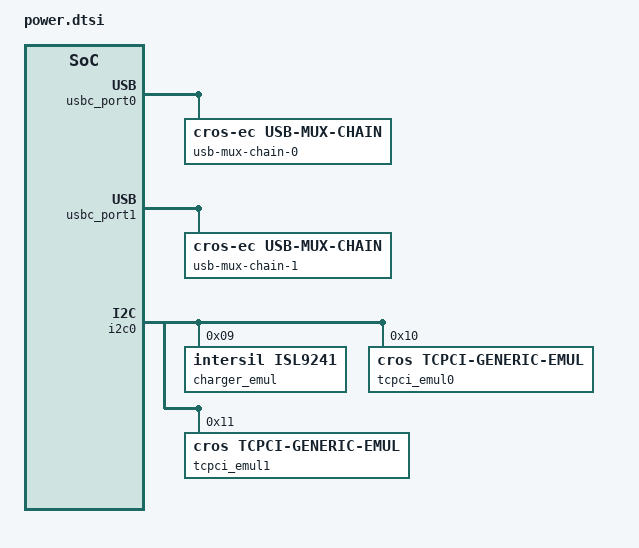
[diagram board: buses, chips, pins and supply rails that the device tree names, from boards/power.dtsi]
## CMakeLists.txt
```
# Copyright 2022 The ChromiumOS Authors
# Use of this source code is governed by a BSD-style license that can be
# found in the LICENSE file.

cmake_minimum_required(VERSION 3.13.1)
find_package(Zephyr REQUIRED HINTS "${ZEPHYR_BASE}")
project(rex)

zephyr_include_directories("${PLATFORM_EC_PROGRAM_DIR}/rex/include")

add_subdirectory(${PLATFORM_EC}/zephyr/test/test_utils test_utils)

add_subdirectory(tests/program)
add_subdirectory_ifdef(CONFIG_TEST_PROJECT_REX tests/rex)
add_subdirectory_ifdef(CONFIG_TEST_PROJECT_SCREEBO tests/screebo)
add_subdirectory_ifdef(CONFIG_TEST_PROJECT_KARIS tests/karis)
add_subdirectory_ifdef(CONFIG_TEST_PROJECT_KANIX tests/kanix)

set_compiler_property(APPEND PROPERTY coverage -O0)
```

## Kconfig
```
# Copyright 2022 The ChromiumOS Authors
# Use of this source code is governed by a BSD-style license that can be
# found in the LICENSE file.

choice TEST_PROJECT_TYPE
	prompt "Select board variant for tests"
	help
	  Board variant to use for tests

	config TEST_PROJECT_REX
		bool "Enable rex-specific tests"
		help
		Enable tests for rex variant.

	config TEST_PROJECT_SCREEBO
		bool "Enable screebo-specific tests"
		help
		Enable tests for screebo variant.

	config TEST_PROJECT_KANIX
		bool "Enable kanix-specific tests"
		help
		Enable tests for kanix variant.

	config TEST_PROJECT_KARIS
		bool "Enable karis-specific tests"
		help
		Enable tests for karis variant.

endchoice # TEST_PROJECT_TYPE

config TEST_PROJECT_NAME
	string "Board name"
	default "rex" if TEST_PROJECT_REX
	default "screebo" if TEST_PROJECT_SCREEBO

config TEST_PROJECT_USB_MUX_CONFIG
	bool "Run the tests intended for usb_mux_config"
	help
	  Include project specific usb_mux_config.c into the binary and
	  test their functions.

config TEST_PROJECT_USB_CONFIG
	bool "Run the tests intended for usb_config"
	help
	  Include project specific usb_config.c into the binary and test
	  their functions.

config TEST_PROJECT_KEYBOARD
	bool "Run the tests intended for keyboard.c"
	help
	  Include project specific keyboard.c into the binary and test
	  their functions.

config TEST_PROJECT_KEYBOARD_CUSTOMIZATION
	bool "Run the tests intended for keyboard_customization.c"
	help
	  Include project specific keyboard_customization.c into the
	  binary and test their functions.

config PLATFORM_EC_KEYBOARD_DEBUG
	  bool "Enable keyboard debug prints"
	  help
	    Enable keyboard debug prints to show up in early bringup, for example
	    if the board is currently headless and keyboard functionality is being
	    checked.

config TEST_PROJECT_BOARD
	bool "Run the tests intended for board.c"
	help
	  Include project specific board.c into the binary and test
	  their functions.

config TEST_PROJECT_CHARGER
	bool "Run the tests intended for charger.c"
	help
	  Include project specific charger.c into the binary and test
	  their functions.

config TEST_PROGRAM_USB_PD_POLICY
	bool "Run the tests intended for usb_pd_policy"
	help
	  Include usb_pd_policy.c into the binary and test their functions.

config TEST_ENABLE_USB_PD_DISCHARGE
	bool "Enable CONFIG_USB_PD_DISCHARGE"
	help
	  This is used to define CONFIG_USB_PD_DISCHARGE for testing purposes
	  directly.

config TEST_ENABLE_USB_PD_HOST_CMD
	bool "Enable CONFIG_USB_PD_HOST_CMD"
	help
	  This is used to define CONFIG_USB_PD_HOST_CMD for testing purposes
	  directly.

config TEST_DISABLE_INLINE_CHIPSET_IN_STATE
	bool "Disable chipset_in_state inline method"
	help
	  This is used to not define chipset_in_state method as inline
	  function.

config TEST_PROGRAM_BATTERY_PRESENT
	bool "Tests battery presence detect"
	help
	  Include tests for board specific battery presence detection.
	  Really, that's all it does.

config TEST_PROGRAM_BOARD_POWER
	bool "Run the tests intended for board_power"
	help
	  Include board_power.c into the binary and test
	  their functions.

config TEST_X86_NON_DSX_PWRSEQ_MTL
	bool "Replace CONFIG_X86_NON_DSX_PWRSEQ_MTL for testing"
	help
	  This is used to replace CONFIG_X86_NON_DSX_PWRSEQ_MTL for testing
	  purposes directly.

config TEST_DISABLE_AP_PWRSEQ
	bool "Disable CONFIG_AP_PWRSEQ"
	default n
	help
	  This is used to disable CONFIG_AP_PWRSEQ for testing purposes
	  directly.

config TEST_PROGRAM_I2C_POLICY
	bool "Run the tests intended for i2c_policy"
	help
	  Include i2c_policy.c into the binary and test their functions.

config TEST_PROJECT_TOUCH_PANEL
	bool "Run the tests intended for touch_panel.c"
	help
	  Include touch_panel.c into the binary and test their functions.

config TEST_BOARD_FAN_CUSTOM
	bool "Run the tests intended for thermal.c"
	help
	  Include thermal.c into the binary and test their functions.

module = REX
module-str = Rex board-specific code
source "subsys/logging/Kconfig.template.log_config"

source "Kconfig.zephyr"
```

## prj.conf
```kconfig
# Copyright 2022 The ChromiumOS Authors
# Use of this source code is governed by a BSD-style license that can be
# found in the LICENSE file.

CONFIG_ZTEST=y
CONFIG_ZTEST_ASSERT_VERBOSE=1
CONFIG_ASSERT=y
CONFIG_EMUL=y

CONFIG_CROS_EC=y
CONFIG_PLATFORM_EC=y

CONFIG_LOG=y
CONFIG_LOG_MODE_MINIMAL=y
CONFIG_POSIX_ARCH_CONSOLE_INIT_PRIORITY=98
CONFIG_PLATFORM_EC_CONSOLE_INIT_PRIORITY=99

CONFIG_AP_X86_INTEL_MTL=y
CONFIG_TEST_DISABLE_AP_PWRSEQ=y

CONFIG_EMUL_COMMON_I2C=y

CONFIG_PLATFORM_EC_KEYBOARD_CUSTOMIZATION=y
```

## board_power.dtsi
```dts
/* Copyright 2022 The ChromiumOS Authors
 * Use of this source code is governed by a BSD-style license that can be
 * found in the LICENSE file.
 */

#include <dt-bindings/gpio_defines.h>

/ {
	common-pwrseq {
		compatible = "intel,ap-pwrseq";
	};
	named-gpios {
		compatible = "named-gpios";
		ec_bl_disable_l {
			gpios = <&gpio0 1 GPIO_INPUT>;
			enum-name = "GPIO_ENABLE_BACKLIGHT";
		};
		gpio_pch_pwrbtn_l: pch_pwrbtn_l {
			gpios = <&gpio0 2 GPIO_OUTPUT>;
			enum-name = "GPIO_PCH_PWRBTN_L";
		};
		gpio_ec_pwr_btn_odl: ec_pwr_btn_odl {
			/* GPIO_PULL_UP will cause this start asserted,
			 * i.e. not pressed.
			 */
			gpios = <&gpio0 3 (GPIO_INPUT | GPIO_PULL_UP)>;
			enum-name = "GPIO_POWER_BUTTON_L";
		};
		gpio_wp_l: wp_l {
			gpios = <&gpio0 4 (GPIO_INPUT | GPIO_ACTIVE_LOW)>;
		};
		entering-rw {
			gpios = <&gpio0 5 GPIO_OUTPUT_LOW>;
			enum-name = "GPIO_ENTERING_RW";
		};
	};
	en_pp5000: pwr-en-pp5000-s5 {
		compatible = "intel,ap-pwrseq-gpio";
		dbg-label = "PP5000_S5 enable output to regulator";
		enum-name = "PWR_EN_PP5000_A";
		gpios = <&gpio0 10 0>;
		output;
	};
	en_pp3300: pwr-en-pp3300-s5 {
		compatible = "intel,ap-pwrseq-gpio";
		dbg-label = "PP3300_S5 enable output to LS";
		enum-name = "PWR_EN_PP3300_A";
		gpios = <&gpio0 11 0>;
		output;
	};
	rsmrst: pwr-pg-ec-rsmrst-odl {
		compatible = "intel,ap-pwrseq-gpio";
		dbg-label = "RSMRST power good from regulator";
		enum-name = "PWR_RSMRST";
		gpios = <&gpio0 12 0>;
		interrupt-flags = <GPIO_INT_EDGE_BOTH>;
	};
	ec_pch_rsmrst: pwr-ec-pch-rsmrst-odl {
		compatible = "intel,ap-pwrseq-gpio";
		dbg-label = "RSMRST output to PCH";
		enum-name = "PWR_EC_PCH_RSMRST";
		gpios = <&gpio0 13 0>;
		output;
	};
	slp_s0: pwr-slp-s0-l {
		compatible = "intel,ap-pwrseq-gpio";
		dbg-label = "SLP_S0_L input from PCH";
		enum-name = "PWR_SLP_S0";
		gpios = <&gpio0 14 GPIO_ACTIVE_LOW>;
		interrupt-flags = <GPIO_INT_EDGE_BOTH>;
		no-enable;
	};
	slp_s3: pwr-slp-s3-l {
		compatible = "intel,ap-pwrseq-gpio";
		dbg-label = "SLP_S3_L input from PCH";
		enum-name = "PWR_SLP_S3";
		gpios = <&gpio0 15 GPIO_ACTIVE_LOW>;
		interrupt-flags = <GPIO_INT_EDGE_BOTH>;
	};
	slp_sus: pwr-slp-sus-l {
		compatible = "intel,ap-pwrseq-gpio";
		dbg-label = "SLP_SUS_L input from PCH";
		enum-name = "PWR_SLP_SUS";
		gpios = <&gpio0 16 GPIO_ACTIVE_LOW>;
		interrupt-flags = <GPIO_INT_EDGE_BOTH>;
	};
	ec_soc_dsw_pwrok: pwr-ec-soc-dsw-pwrok {
		compatible = "intel,ap-pwrseq-gpio";
		dbg-label = "DSW_PWROK output to PCH";
		enum-name = "PWR_EC_SOC_DSW_PWROK";
		gpios = <&gpio0 17 0>;
		output;
	};
	pwr-vccst-pwrgd-od {
		compatible = "intel,ap-pwrseq-gpio";
		dbg-label = "VCCST_PWRGD output to PCH";
		enum-name = "PWR_VCCST_PWRGD";
		gpios = <&gpio0 18 0>;
		output;
	};
	pwr-imvp9-vrrdy-od {
		compatible = "intel,ap-pwrseq-gpio";
		dbg-label = "VRRDY input from IMVP9";
		enum-name = "PWR_IMVP9_VRRDY";
		gpios = <&gpio0 19 0>;
	};
	pch_pwrok: pwr-pch-pwrok {
		compatible = "intel,ap-pwrseq-gpio";
		dbg-label = "PCH_PWROK output to PCH";
		enum-name = "PWR_PCH_PWROK";
		gpios = <&gpio0 20 0>;
		output;
	};
	pwr-ec-pch-sys-pwrok {
		compatible = "intel,ap-pwrseq-gpio";
		dbg-label = "SYS_PWROK output to PCH";
		enum-name = "PWR_EC_PCH_SYS_PWROK";
		gpios = <&gpio0 21 0>;
		output;
	};
	pwr-sys-rst-l {
		compatible = "intel,ap-pwrseq-gpio";
		dbg-label = "SYS_RESET# output to PCH";
		enum-name = "PWR_SYS_RST";
		gpios = <&gpio0 22 GPIO_ACTIVE_LOW>;
		output;
	};
};
```

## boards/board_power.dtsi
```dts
/* Copyright 2022 The ChromiumOS Authors
 * Use of this source code is governed by a BSD-style license that can be
 * found in the LICENSE file.
 */

#include <dt-bindings/gpio_defines.h>

/ {

	common-pwrseq {
		compatible = "intel,ap-pwrseq";
	};
	named-gpios {
		compatible = "named-gpios";
		ec_bl_disable_l {
			gpios = <&gpio0 1 GPIO_INPUT>;
			enum-name = "GPIO_ENABLE_BACKLIGHT";
		};
		gpio_pch_pwrbtn_l: pch_pwrbtn_l {
			gpios = <&gpio0 2 GPIO_OUTPUT>;
			enum-name = "GPIO_PCH_PWRBTN_L";
		};
		gpio_ec_pwr_btn_odl: ec_pwr_btn_odl {
			/* GPIO_PULL_UP will cause this start asserted,
			 * i.e. not pressed.
			 */
			gpios = <&gpio0 3 (GPIO_INPUT | GPIO_PULL_UP)>;
			enum-name = "GPIO_POWER_BUTTON_L";
		};
		gpio_wp_l: wp_l {
			gpios = <&gpio0 4 (GPIO_INPUT | GPIO_ACTIVE_LOW)>;
		};
		entering-rw {
			gpios = <&gpio0 5 GPIO_OUTPUT_LOW>;
			enum-name = "GPIO_ENTERING_RW";
		};
	};
	en_pp5000: pwr-en-pp5000-s5 {
		compatible = "intel,ap-pwrseq-gpio";
		dbg-label = "PP5000_S5 enable output to regulator";
		enum-name = "PWR_EN_PP5000_A";
		gpios = <&gpio0 10 0>;
		output;
	};
	en_pp3300: pwr-en-pp3300-s5 {
		compatible = "intel,ap-pwrseq-gpio";
		dbg-label = "PP3300_S5 enable output to LS";
		enum-name = "PWR_EN_PP3300_A";
		gpios = <&gpio0 11 0>;
		output;
	};
	rsmrst: pwr-pg-ec-rsmrst-odl {
		compatible = "intel,ap-pwrseq-gpio";
		dbg-label = "RSMRST power good from regulator";
		enum-name = "PWR_RSMRST_PWRGD";
		gpios = <&gpio0 12 0>;
		interrupt-flags = <GPIO_INT_EDGE_BOTH>;
	};
	ec_pch_rsmrst: pwr-ec-pch-rsmrst-odl {
		compatible = "intel,ap-pwrseq-gpio";
		dbg-label = "RSMRST output to PCH";
		enum-name = "PWR_EC_PCH_RSMRST";
		gpios = <&gpio0 13 GPIO_ACTIVE_LOW>;
		reset-val = <1>;
		output;
	};
	slp_s0: pwr-slp-s0-l {
		compatible = "intel,ap-pwrseq-gpio";
		dbg-label = "SLP_S0_L input from PCH";
		enum-name = "PWR_SLP_S0";
		gpios = <&gpio0 14 GPIO_ACTIVE_LOW>;
		interrupt-flags = <GPIO_INT_EDGE_BOTH>;
		no-enable;
	};
	slp_s3: pwr-slp-s3-l {
		compatible = "intel,ap-pwrseq-gpio";
		dbg-label = "SLP_S3_L input from PCH";
		enum-name = "PWR_SLP_S3";
		gpios = <&gpio0 15 GPIO_ACTIVE_LOW>;
		interrupt-flags = <GPIO_INT_EDGE_BOTH>;
	};
	slp_sus: pwr-slp-sus-l {
		compatible = "intel,ap-pwrseq-gpio";
		dbg-label = "SLP_SUS_L input from PCH";
		enum-name = "PWR_SLP_SUS";
		gpios = <&gpio0 16 GPIO_ACTIVE_LOW>;
		interrupt-flags = <GPIO_INT_EDGE_BOTH>;
	};
	pwr-vccst-pwrgd-od {
		compatible = "intel,ap-pwrseq-gpio";
		dbg-label = "VCCST_PWRGD output to PCH";
		enum-name = "PWR_VCCST_PWRGD";
		gpios = <&gpio0 18 0>;
		output;
	};
	pwr-imvp9-vrrdy-od {
		compatible = "intel,ap-pwrseq-gpio";
		dbg-label = "VRRDY input from IMVP9";
		enum-name = "PWR_IMVP9_VRRDY";
		gpios = <&gpio0 19 0>;
	};
	pch_pwrok: pwr-pch-pwrok {
		compatible = "intel,ap-pwrseq-gpio";
		dbg-label = "PCH_PWROK output to PCH";
		enum-name = "PWR_PCH_PWROK";
		gpios = <&gpio0 20 0>;
		output;
	};
	pwr-ec-pch-sys-pwrok {
		compatible = "intel,ap-pwrseq-gpio";
		dbg-label = "SYS_PWROK output to PCH";
		enum-name = "PWR_EC_PCH_SYS_PWROK";
		gpios = <&gpio0 21 0>;
		output;
	};
	pwr-sys-rst-l {
		compatible = "intel,ap-pwrseq-gpio";
		dbg-label = "SYS_RESET# output to PCH";
		enum-name = "PWR_SYS_RST";
		gpios = <&gpio0 22 GPIO_ACTIVE_LOW>;
		output;
	};
	pwr-all-sys-pwrgd {
		compatible = "intel,ap-pwrseq-gpio";
		dbg-label = "all power good";
		enum-name = "PWR_ALL_SYS_PWRGD";
		gpios = <&gpio0 23 (GPIO_ACTIVE_HIGH | GPIO_PULL_UP)>;
		interrupt-flags = <GPIO_INT_EDGE_BOTH>;
	};
};
```

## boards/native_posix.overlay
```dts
/* Copyright 2022 The ChromiumOS Authors
 * Use of this source code is governed by a BSD-style license that can be
 * found in the LICENSE file.
 */

#include <board-overlays/native_posix.dts>
#include <dt-bindings/gpio_defines.h>

/ {
	/* GPIOs shared by all projects */
	named-gpios {
		compatible = "named-gpios";

		gpio_usb_c1_rst_odl: usb_c1_rst_odl {
			gpios = <&gpio0 1 GPIO_ODR_LOW>;
		};
		gpio_usb_c1_rt_int_odl: usb_c1_rt_int_odl {
			gpios = <&gpio0 2 GPIO_INPUT_PULL_UP>;
		};
		gpio_usb_c1_rt_rst_r_odl: usb_c1_rt_rst_r_odl {
			gpios = <&gpio0 3 GPIO_ODR_HIGH>;
		};
		gpio_usb_c1_frs_en: usb_c1_frs_en {
			gpios = <&gpio0 4 GPIO_ODR_HIGH>;
		};
		gpio_en_z1_rails: en_z1_rails {
			gpios = <&gpio0 5 GPIO_OUTPUT>;
		};
		gpio_ec_batt_pres_odl: ec_batt_pres_odl {
			gpios = <&gpio0 6 GPIO_INPUT>;
			enum-name = "GPIO_BATT_PRES_ODL";
		};
		gpio_en_pp5000_usba_r: en_pp5000_usba_r {
			gpios = <&gpio0 7 GPIO_OUTPUT>;
		};
	};

	/*
	 * This is a 2nd GPIO bank to be used by variants to
	 * avoid conflicts with common GPIO assignments.
	 */
	gpio1: gpio@101 {
		status = "okay";
		compatible = "zephyr,gpio-emul";
		reg = <0x101 0x4>;
		rising-edge;
		falling-edge;
		high-level;
		low-level;
		gpio-controller;
		#gpio-cells = <2>;
		ngpios = <32>;
	};

	i2c1_0: i2c@100 {
		status = "okay";
		compatible = "zephyr,i2c-emul-controller";
		clock-frequency = <I2C_BITRATE_STANDARD>;
		#address-cells = <1>;
		#size-cells = <0>;
		reg = <0x100 4>;
	};
	i2c2_0: i2c@200 {
		status = "okay";
		compatible = "zephyr,i2c-emul-controller";
		clock-frequency = <I2C_BITRATE_STANDARD>;
		#address-cells = <1>;
		#size-cells = <0>;
		reg = <0x200 4>;
	};
	i2c3_0: i2c@300 {
		status = "okay";
		compatible = "zephyr,i2c-emul-controller";
		clock-frequency = <I2C_BITRATE_STANDARD>;
		#address-cells = <1>;
		#size-cells = <0>;
		reg = <0x300 4>;
	};
	i2c4_1: i2c@410 {
		status = "okay";
		compatible = "zephyr,i2c-emul-controller";
		clock-frequency = <I2C_BITRATE_STANDARD>;
		#address-cells = <1>;
		#size-cells = <0>;
		reg = <0x410 4>;
	};
	i2c6_1: i2c@610 {
		status = "okay";
		compatible = "zephyr,i2c-emul-controller";
		clock-frequency = <I2C_BITRATE_STANDARD>;
		#address-cells = <1>;
		#size-cells = <0>;
		reg = <0x610 4>;
	};

	usba-port-enable-list {
		compatible = "cros-ec,usba-port-enable-pins";
		enable-pins = <&gpio_en_pp5000_usba_r>;
	};
};
```

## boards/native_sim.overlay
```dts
/* Copyright 2022 The ChromiumOS Authors
 * Use of this source code is governed by a BSD-style license that can be
 * found in the LICENSE file.
 */

#include <board-overlays/native_sim.dts>
#include <dt-bindings/gpio_defines.h>

/ {
	/* GPIOs shared by all projects */
	named-gpios {
		compatible = "named-gpios";

		gpio_usb_c1_rst_odl: usb_c1_rst_odl {
			gpios = <&gpio0 1 GPIO_ODR_LOW>;
		};
		gpio_usb_c1_rt_int_odl: usb_c1_rt_int_odl {
			gpios = <&gpio0 2 GPIO_INPUT_PULL_UP>;
		};
		gpio_usb_c1_rt_rst_r_odl: usb_c1_rt_rst_r_odl {
			gpios = <&gpio0 3 GPIO_ODR_HIGH>;
		};
		gpio_usb_c1_frs_en: usb_c1_frs_en {
			gpios = <&gpio0 4 GPIO_ODR_HIGH>;
		};
		gpio_en_z1_rails: en_z1_rails {
			gpios = <&gpio0 5 GPIO_OUTPUT>;
		};
		gpio_ec_batt_pres_odl: ec_batt_pres_odl {
			gpios = <&gpio0 6 GPIO_INPUT>;
			enum-name = "GPIO_BATT_PRES_ODL";
		};
		gpio_en_pp5000_usba_r: en_pp5000_usba_r {
			gpios = <&gpio0 7 GPIO_OUTPUT>;
		};
	};

	/*
	 * This is a 2nd GPIO bank to be used by variants to
	 * avoid conflicts with common GPIO assignments.
	 */
	gpio1: gpio@101 {
		status = "okay";
		compatible = "zephyr,gpio-emul";
		reg = <0x101 0x4>;
		rising-edge;
		falling-edge;
		high-level;
		low-level;
		gpio-controller;
		#gpio-cells = <2>;
		ngpios = <32>;
	};

	i2c1_0: i2c@100 {
		status = "okay";
		compatible = "zephyr,i2c-emul-controller";
		clock-frequency = <I2C_BITRATE_STANDARD>;
		#address-cells = <1>;
		#size-cells = <0>;
		reg = <0x100 4>;
	};
	i2c2_0: i2c@200 {
		status = "okay";
		compatible = "zephyr,i2c-emul-controller";
		clock-frequency = <I2C_BITRATE_STANDARD>;
		#address-cells = <1>;
		#size-cells = <0>;
		reg = <0x200 4>;
	};
	i2c3_0: i2c@300 {
		status = "okay";
		compatible = "zephyr,i2c-emul-controller";
		clock-frequency = <I2C_BITRATE_STANDARD>;
		#address-cells = <1>;
		#size-cells = <0>;
		reg = <0x300 4>;
	};
	i2c4_1: i2c@410 {
		status = "okay";
		compatible = "zephyr,i2c-emul-controller";
		clock-frequency = <I2C_BITRATE_STANDARD>;
		#address-cells = <1>;
		#size-cells = <0>;
		reg = <0x410 4>;
	};
	i2c6_1: i2c@610 {
		status = "okay";
		compatible = "zephyr,i2c-emul-controller";
		clock-frequency = <I2C_BITRATE_STANDARD>;
		#address-cells = <1>;
		#size-cells = <0>;
		reg = <0x610 4>;
	};

	usba-port-enable-list {
		compatible = "cros-ec,usba-port-enable-pins";
		enable-pins = <&gpio_en_pp5000_usba_r>;
	};
};
```

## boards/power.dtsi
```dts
/* Copyright 2023 The ChromiumOS Authors
 * Use of this source code is governed by a BSD-style license that can be
 * found in the LICENSE file.
 */

/ {
	/* Unused Stub */
	named-i2c-ports {
		compatible = "named-i2c-ports";

		named_i2c0: i2c0 {
			i2c-port = <&i2c0>;
			enum-names = "I2C_PORT_USB_MUX",
				     "I2C_PORT_BATTERY";
		};
	};

	usbc {
		#address-cells = <1>;
		#size-cells = <0>;

		usbc_port0: port0@0 {
			compatible = "named-usbc-port";
			reg = <0>;
			tcpc = <&tcpci_emul0>;
			chg = <&charger_emul>;
			usb-mux-chain-0 {
				compatible = "cros-ec,usb-mux-chain";
				usb-muxes = <&virtual_mux_c0>;
			};
		};
		port0-muxes {
			virtual_mux_c0: virtual-mux-c0 {
				compatible = "cros-ec,usbc-mux-virtual";
			};
		};

		usbc_port1: port1@1 {
			compatible = "named-usbc-port";
			reg = <1>;
			tcpc = <&tcpci_emul1>;
			usb-mux-chain-1 {
				compatible = "cros-ec,usb-mux-chain";
				usb-muxes = <&virtual_mux_c1>;
			};
		};
		port1-muxes {
			virtual_mux_c1: virtual-mux-c1 {
				compatible = "cros-ec,usbc-mux-virtual";
			};
		};
	};

	batteries {
		default_battery: lgc_ac17a8m {
			compatible = "lgc,ac17a8m", "battery-smart";
			/**
			 * this has to be strictly lower than the desired
			 * voltage in smart battery emulator (5000mV).
			 */
			voltage_min = <4000>;
		};
	};
};

&i2c0 {
	status = "okay";

	charger_emul: isl9241@9 {
		compatible = "intersil,isl9241";
		status = "okay";
		reg = <0x9>;
	};


	tcpci_emul0: tcpci_emul@10 {
		compatible = "cros,tcpci-generic-emul";
		status = "okay";
		reg = <0x10>;
	};

	tcpci_emul1: tcpci_emul@11 {
		compatible = "cros,tcpci-generic-emul";
		status = "okay";
		reg = <0x11>;
	};
};
```

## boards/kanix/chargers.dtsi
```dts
/* Copyright 2024 The ChromiumOS Authors
 * Use of this source code is governed by a BSD-style license that can be
 * found in the LICENSE file.
 */

#include "usbc.dtsi"
#include "../../../../program/rex/kanix/battery.dtsi"

/ {
	named-i2c-ports {
		i2c_ec_i2c_bat: ec_i2c_bat {
			i2c-port = <&i2c0>;
			enum-names = "I2C_PORT_BATTERY";
		};
	};
};
```

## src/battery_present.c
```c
/* Copyright 2023 The ChromiumOS Authors
 * Use of this source code is governed by a BSD-style license that can be
 * found in the LICENSE file.
 */

#include "battery.h"

#include <zephyr/device.h>
#include <zephyr/drivers/emul.h>
#include <zephyr/drivers/gpio.h>
#include <zephyr/drivers/gpio/gpio_emul.h>
#include <zephyr/fff.h>
#include <zephyr/ztest.h>

#define GPIO_BATT_PRES_ODL_PATH NAMED_GPIOS_GPIO_NODE(ec_batt_pres_odl)
#define GPIO_BATT_PRES_ODL_PORT DT_GPIO_PIN(GPIO_BATT_PRES_ODL_PATH, gpios)

FAKE_VALUE_FUNC(int, board_set_active_charge_port, int);

static void battery_after(void *data)
{
	const struct device *dev =
		DEVICE_DT_GET(DT_GPIO_CTLR(GPIO_BATT_PRES_ODL_PATH, gpios));

	/* Set default state (battery is present) */
	gpio_emul_input_set(dev, GPIO_BATT_PRES_ODL_PORT, 0);
}

ZTEST_SUITE(rex_battery, NULL, NULL, NULL, battery_after, NULL);

static bool mock_battery_cutoff_state;

int battery_is_cut_off(void)
{
	return mock_battery_cutoff_state;
}

ZTEST_USER(rex_battery, test_battery_is_present)
{
	const struct device *dev =
		DEVICE_DT_GET(DT_GPIO_CTLR(GPIO_BATT_PRES_ODL_PATH, gpios));

	zassert_not_null(dev, NULL);

	mock_battery_cutoff_state = true;
	zassert_ok(gpio_emul_input_set(dev, GPIO_BATT_PRES_ODL_PORT, 0));
	zassert_equal(BP_NO, battery_is_present());

	mock_battery_cutoff_state = true;
	zassert_ok(gpio_emul_input_set(dev, GPIO_BATT_PRES_ODL_PORT, 1));
	zassert_equal(BP_NO, battery_is_present());

	mock_battery_cutoff_state = false;
	zassert_ok(gpio_emul_input_set(dev, GPIO_BATT_PRES_ODL_PORT, 0));
	zassert_equal(BP_YES, battery_is_present());

	mock_battery_cutoff_state = false;
	zassert_ok(gpio_emul_input_set(dev, GPIO_BATT_PRES_ODL_PORT, 1));
	zassert_equal(BP_NO, battery_is_present());
}

ZTEST_USER(rex_battery, test_battery_hw_present)
{
	const struct device *dev =
		DEVICE_DT_GET(DT_GPIO_CTLR(GPIO_BATT_PRES_ODL_PATH, gpios));

	zassert_not_null(dev, NULL);

	zassert_ok(gpio_emul_input_set(dev, GPIO_BATT_PRES_ODL_PORT, 0));
	zassert_equal(BP_YES, battery_hw_present());

	zassert_ok(gpio_emul_input_set(dev, GPIO_BATT_PRES_ODL_PORT, 1));
	zassert_equal(BP_NO, battery_hw_present());
}
```

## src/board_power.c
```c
/* Copyright 2023 The ChromiumOS Authors
 * Use of this source code is governed by a BSD-style license that can be
 * found in the LICENSE file.
 */

#include "gpio/gpio.h"
#include "gpio_signal.h"
#include "timer.h"

#include <zephyr/drivers/gpio.h>
#include <zephyr/fff.h>
#include <zephyr/ztest.h>

#include <ap_power/ap_power.h>
#include <ap_power/ap_power_events.h>
#include <ap_power/ap_power_interface.h>
#include <ap_power_override_functions.h>
#include <mock/ap_power_events.h>
#include <mock/power_signals.h>
#include <power_signals.h>
#include <x86_power_signals.h>

#define X86_NON_DSX_MTL_FORCE_SHUTDOWN_TO_MS 50

DEFINE_FAKE_VALUE_FUNC(int, power_signal_set, enum power_signal, int);
DEFINE_FAKE_VALUE_FUNC(int, power_signal_get, enum power_signal);
DEFINE_FAKE_VALUE_FUNC(int, power_wait_mask_signals_timeout,
		       power_signal_mask_t, power_signal_mask_t, int);
DEFINE_FAKE_VOID_FUNC(ap_power_ev_send_callbacks, enum ap_power_events);

int mock_power_signal_set_ap_force_shutdown(enum power_signal signal, int value)
{
	if (power_signal_set_fake.call_count == 1) {
		zassert_true(signal == PWR_EC_PCH_RSMRST && value == 0,
			     "First call signal: %d, value: %d", signal, value);
		return 0;
	} else if (power_signal_set_fake.call_count == 2) {
		zassert_true(signal == PWR_EN_PP3300_A && value == 0,
			     "Second call signal: %d, value: %d", signal,
			     value);
		return 0;
	}

	zassert_unreachable("Wrong input received");
	return -1;
}

int mock_power_signal_set_ap_power_action_g3_s5(enum power_signal signal,
						int value)
{
	if ((signal == PWR_EN_PP3300_A) && (value == 1)) {
		return 0;
	}

	zassert_unreachable("Wrong input received");
	return -1;
}

int mock_power_signal_get_ap_force_shutdown_retries(enum power_signal signal)
{
	if (signal == PWR_RSMRST) {
		return 1;
	}
	zassert_unreachable("Wrong input received");
	return -1;
}

int mock_power_signal_get_ap_force_shutdown(enum power_signal signal)
{
	if (signal == PWR_RSMRST) {
		if (power_signal_get_fake.call_count <= 5) {
			return 1;
		}
		return 0;
	}
	zassert_unreachable("Wrong input received");
	return -1;
}

int mock_power_signal_get_check_power_rails_enabled_0(enum power_signal signal)
{
	if (signal == PWR_EN_PP3300_A) {
		return 0;
	}
	zassert_unreachable("Wrong input received");
	return -1;
}

int mock_power_signal_get_check_power_rails_enabled_1(enum power_signal signal)
{
	if (signal == PWR_EN_PP3300_A) {
		return 1;
	}
	zassert_unreachable("Wrong input received");
	return -1;
}

int mock_power_wait_mask_signals_timeout_0(power_signal_mask_t want,
					   power_signal_mask_t mask,
					   int timeout)
{
	zassert_equal(want, IN_PGOOD_ALL_CORE);
	zassert_equal(mask, IN_PGOOD_ALL_CORE);
	zassert_equal(timeout, AP_PWRSEQ_DT_VALUE(wait_signal_timeout));
	return 0;
}

int mock_power_wait_mask_signals_timeout_1(power_signal_mask_t want,
					   power_signal_mask_t mask,
					   int timeout)
{
	zassert_equal(want, IN_PGOOD_ALL_CORE);
	zassert_equal(mask, IN_PGOOD_ALL_CORE);
	zassert_equal(timeout, AP_PWRSEQ_DT_VALUE(wait_signal_timeout));
	return 1;
}

void mock_ap_power_ev_send_callbacks(enum ap_power_events event)
{
	zassert_equal(event, AP_POWER_PRE_INIT);
}

static void board_power_before(void *fixture)
{
	ARG_UNUSED(fixture);
	RESET_FAKE(power_signal_set);
	RESET_FAKE(power_signal_get);
	RESET_FAKE(power_wait_mask_signals_timeout);
	RESET_FAKE(ap_power_ev_send_callbacks);
}

ZTEST_USER(board_power, test_board_ap_power_force_shutdown)
{
	power_signal_set_fake.custom_fake =
		mock_power_signal_set_ap_force_shutdown;
	power_signal_get_fake.custom_fake =
		mock_power_signal_get_ap_force_shutdown;
	board_ap_power_force_shutdown();

	zassert_equal(2, power_signal_set_fake.call_count);
	zassert_equal(7, power_signal_get_fake.call_count);
}

ZTEST_USER(board_power, test_board_ap_power_force_shutdown_timeout)
{
	power_signal_set_fake.custom_fake =
		mock_power_signal_set_ap_force_shutdown;
	power_signal_get_fake.custom_fake =
		mock_power_signal_get_ap_force_shutdown_retries;

	const uint32_t start_ms = k_uptime_get();

	board_ap_power_force_shutdown();

	const uint32_t end_ms = k_uptime_get();

	zassert_equal(power_signal_set_fake.call_count, 2);
	zassert_true((end_ms - start_ms) >=
		     X86_NON_DSX_MTL_FORCE_SHUTDOWN_TO_MS);
	zassert_true(power_signal_get_fake.call_count > 2);
}

ZTEST_USER(board_power, test_board_ap_power_check_power_rails_enabled_0)
{
	power_signal_get_fake.custom_fake =
		mock_power_signal_get_check_power_rails_enabled_0;

	zassert_equal(0, board_ap_power_check_power_rails_enabled());
	zassert_equal(1, power_signal_get_fake.call_count);
}

ZTEST_USER(board_power, test_board_ap_power_check_power_rails_enabled_1)
{
	power_signal_get_fake.custom_fake =
		mock_power_signal_get_check_power_rails_enabled_1;

	zassert_equal(1, board_ap_power_check_power_rails_enabled());
	zassert_equal(1, power_signal_get_fake.call_count);
}

ZTEST_USER(board_power, test_board_ap_power_action_g3_s5_0)
{
	power_signal_set_fake.custom_fake =
		mock_power_signal_set_ap_power_action_g3_s5;
	power_wait_mask_signals_timeout_fake.custom_fake =
		mock_power_wait_mask_signals_timeout_0;
	ap_power_ev_send_callbacks_fake.custom_fake =
		mock_ap_power_ev_send_callbacks;

	board_ap_power_action_g3_s5();

	zassert_equal(1, power_signal_set_fake.call_count);
	zassert_equal(1, power_wait_mask_signals_timeout_fake.call_count);
	zassert_equal(1, ap_power_ev_send_callbacks_fake.call_count);
}

ZTEST_USER(board_power, test_board_ap_power_action_g3_s5_1)
{
	power_signal_set_fake.custom_fake =
		mock_power_signal_set_ap_power_action_g3_s5;
	power_wait_mask_signals_timeout_fake.custom_fake =
		mock_power_wait_mask_signals_timeout_1;
	ap_power_ev_send_callbacks_fake.custom_fake =
		mock_ap_power_ev_send_callbacks;

	board_ap_power_action_g3_s5();

	zassert_equal(1, power_signal_set_fake.call_count);
	zassert_equal(1, power_wait_mask_signals_timeout_fake.call_count);
	zassert_equal(0, ap_power_ev_send_callbacks_fake.call_count);
}

ZTEST_SUITE(board_power, NULL, NULL, board_power_before, NULL, NULL);
```

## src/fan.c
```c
/* Copyright 2022 The ChromiumOS Authors
 * Use of this source code is governed by a BSD-style license that can be
 * found in the LICENSE file.
 */

#include "cros_cbi.h"
#include "fan.h"
#include "hooks.h"

#include <zephyr/fff.h>
#include <zephyr/ztest.h>

FAKE_VALUE_FUNC(int, cros_cbi_get_fw_config, enum cbi_fw_config_field_id,
		uint32_t *);
FAKE_VOID_FUNC(fan_set_count, int);

int cros_cbi_get_fw_config_mock(enum cbi_fw_config_field_id field_id,
				uint32_t *value)
{
	*value = FW_FAN_PRESENT;
	return 0;
}

int cros_cbi_get_fw_config_mock_no_fan(enum cbi_fw_config_field_id field_id,
				       uint32_t *value)
{
	*value = FW_FAN_NOT_PRESENT;
	return 0;
}

int cros_cbi_get_fw_config_mock_error(enum cbi_fw_config_field_id field_id,
				      uint32_t *value)
{
	return -1;
}

void fan_set_count_mock(int count)
{
	zassert_equal(0, count);
}

static void fan_before(void *fixture)
{
	ARG_UNUSED(fixture);

	RESET_FAKE(cros_cbi_get_fw_config);
	RESET_FAKE(fan_set_count);
}

ZTEST_USER(fan, test_fan_init)
{
	cros_cbi_get_fw_config_fake.custom_fake = cros_cbi_get_fw_config_mock;
	fan_set_count_fake.custom_fake = fan_set_count_mock;

	hook_notify(HOOK_INIT);

	zassert_equal(1, cros_cbi_get_fw_config_fake.call_count);
	zassert_equal(0, fan_set_count_fake.call_count);
}

ZTEST_USER(fan, test_fan_init_no_fan)
{
	cros_cbi_get_fw_config_fake.custom_fake =
		cros_cbi_get_fw_config_mock_no_fan;
	fan_set_count_fake.custom_fake = fan_set_count_mock;

	hook_notify(HOOK_INIT);

	zassert_equal(1, cros_cbi_get_fw_config_fake.call_count);
	zassert_equal(1, fan_set_count_fake.call_count);
}

ZTEST_USER(fan, test_fan_init_error_reading_cbi)
{
	cros_cbi_get_fw_config_fake.custom_fake =
		cros_cbi_get_fw_config_mock_error;
	fan_set_count_fake.custom_fake = fan_set_count_mock;

	hook_notify(HOOK_INIT);

	zassert_equal(1, cros_cbi_get_fw_config_fake.call_count);
	zassert_equal(0, fan_set_count_fake.call_count);
}

ZTEST_SUITE(fan, NULL, NULL, fan_before, NULL, NULL);
```

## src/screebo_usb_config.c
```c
/* Copyright 2023 The ChromiumOS Authors
 * Use of this source code is governed by a BSD-style license that can be
 * found in the LICENSE file.
 */

#include "battery.h"
#include "cros_cbi.h"
#include "driver/retimer/bb_retimer_public.h"
#include "gpio/gpio_int.h"
#include "hooks.h"
#include "usb_config.h"
#include "usb_mux.h"
#include "usbc/ppc.h"
#include "usbc/tcpci.h"
#include "usbc/usb_muxes.h"
#include "usbc_config.h"

#include <zephyr/devicetree.h>
#include <zephyr/fff.h>
#include <zephyr/ztest.h>

FAKE_VALUE_FUNC(int, cros_cbi_get_fw_config, enum cbi_fw_config_field_id,
		uint32_t *);
FAKE_VOID_FUNC(reset_nct38xx_port, int);
FAKE_VOID_FUNC(nx20p348x_interrupt, enum gpio_signal);
FAKE_VOID_FUNC(bc12_interrupt, enum gpio_signal);
FAKE_VOID_FUNC(ppc_interrupt, enum gpio_signal);
FAKE_VOID_FUNC(syv682x_interrupt, enum gpio_signal);
FAKE_VALUE_FUNC(int, board_set_active_charge_port, int);
FAKE_VOID_FUNC(pd_power_supply_reset, int);
FAKE_VALUE_FUNC(int, pd_check_vconn_swap, int);
FAKE_VALUE_FUNC(int, pd_set_power_supply_ready, int);
FAKE_VALUE_FUNC(int, cbi_get_board_version, uint32_t *);

static int board_version;
static struct bb_usb_control bb_controls_saved[2];

static int mock_cbi_get_board_version(uint32_t *ver)
{
	*ver = board_version;
	return 0;
}

static int mock_cbi_get_board_version_error(uint32_t *ver)
{
	return -1;
}

int mock_cros_cbi_get_fw_config_db_usb3(enum cbi_fw_config_field_id field_id,
					uint32_t *value)
{
	*value = FW_USB_DB_USB3;
	return 0;
}

int mock_cros_cbi_get_fw_config_mb_usb3(enum cbi_fw_config_field_id field_id,
					uint32_t *value)
{
	*value = FW_USB_MB_USB3;
	return 0;
}

int mock_cros_cbi_get_fw_config_mb_usb4(enum cbi_fw_config_field_id field_id,
					uint32_t *value)
{
	*value = FW_USB_MB_USB4_HB;
	return 0;
}

int mock_cros_cbi_get_fw_config_error(enum cbi_fw_config_field_id field_id,
				      uint32_t *value)
{
	return -1;
}

static void usb_config_before(void *fixture)
{
	ARG_UNUSED(fixture);

	RESET_FAKE(cros_cbi_get_fw_config);
	RESET_FAKE(cbi_get_board_version);
	RESET_FAKE(reset_nct38xx_port);
	RESET_FAKE(nx20p348x_interrupt);
	RESET_FAKE(syv682x_interrupt);

	memcpy(bb_controls_saved, bb_controls,
	       sizeof(struct bb_usb_control) * ARRAY_SIZE(bb_controls_saved));
}

static void usb_config_after(void *fixture)
{
	ARG_UNUSED(fixture);

	memcpy(bb_controls, bb_controls_saved,
	       sizeof(struct bb_usb_control) * ARRAY_SIZE(bb_controls_saved));
}

ZTEST_USER(usb_config, test_setup_db_usb3)
{
	cros_cbi_get_fw_config_fake.custom_fake =
		mock_cros_cbi_get_fw_config_db_usb3;
	hook_notify(HOOK_INIT);

	zassert_equal(2, cros_cbi_get_fw_config_fake.call_count);
	zassert_equal(FW_USB_DB_USB3, usb_db_type);
	zassert_mem_equal(&tcpc_config[1],
			  &TCPC_ALT_FROM_NODELABEL(tcpc_ps8815_port1),
			  sizeof(struct tcpc_config_t));
	zassert_mem_equal(&ppc_chips[1],
			  &PPC_ALT_FROM_NODELABEL(ppc_nx20p_port1),
			  sizeof(struct ppc_config_t));
	zassert_equal(usb_muxes[1].mux->driver, &tcpci_tcpm_usb_mux_driver);
}

ZTEST_USER(usb_config, test_setup_mb_usb3)
{
	cros_cbi_get_fw_config_fake.custom_fake =
		mock_cros_cbi_get_fw_config_mb_usb3;
	hook_notify(HOOK_INIT);

	zassert_equal(2, cros_cbi_get_fw_config_fake.call_count);
	zassert_equal(FW_USB_MB_USB3, usb_mb_type);
	zassert_false(board_is_tbt_usb4_port(USBC_PORT_C0), NULL);
	zassert_false(board_is_tbt_usb4_port(USBC_PORT_C1), NULL);
	zassert_equal(2, board_get_usb_pd_port_count());
	zassert_equal(usb_muxes[0].mux->driver, &virtual_usb_mux_driver);
}

ZTEST_USER(usb_config, test_setup_mb_usb4)
{
	cros_cbi_get_fw_config_fake.custom_fake =
		mock_cros_cbi_get_fw_config_mb_usb4;
	hook_notify(HOOK_INIT);

	zassert_equal(2, cros_cbi_get_fw_config_fake.call_count);
	zassert_equal(FW_USB_MB_USB4_HB, usb_mb_type);
	zassert_true(board_is_tbt_usb4_port(USBC_PORT_C0), NULL);
	zassert_true(board_is_tbt_usb4_port(USBC_PORT_C1), NULL);
	zassert_equal(2, board_get_usb_pd_port_count());
}

ZTEST_USER(usb_config, test_setup_usb_db_error_reading_cbi)
{
	cros_cbi_get_fw_config_fake.custom_fake =
		mock_cros_cbi_get_fw_config_error;
	hook_notify(HOOK_INIT);

	zassert_equal(2, cros_cbi_get_fw_config_fake.call_count);
	zassert_equal(FW_USB_DB_NOT_CONNECTED, usb_db_type);
	zassert_equal(FW_USB_MB_UNKNOWN, usb_mb_type);
	zassert_equal(1, board_get_usb_pd_port_count());
}

ZTEST_USER(usb_config, test_ppc_interrupt)
{
	/* Test TBT SKU ppc interrupt */
	cros_cbi_get_fw_config_fake.custom_fake =
		mock_cros_cbi_get_fw_config_mb_usb4;
	hook_notify(HOOK_INIT);

	screebo_ppc_interrupt(GPIO_USB_C0_PPC_INT_ODL);
	zassert_equal(1, syv682x_interrupt_fake.call_count);
	screebo_ppc_interrupt(GPIO_USB_C1_PPC_INT_ODL);
	zassert_equal(2, syv682x_interrupt_fake.call_count);

	/* Test USB3.2 SKU ppc interrupt */
	cros_cbi_get_fw_config_fake.custom_fake =
		mock_cros_cbi_get_fw_config_mb_usb3;
	hook_notify(HOOK_INIT);

	screebo_ppc_interrupt(GPIO_USB_C1_PPC_INT_ODL);
	zassert_equal(1, nx20p348x_interrupt_fake.call_count);

	/* Test switch default situation */
	RESET_FAKE(nx20p348x_interrupt);
	RESET_FAKE(syv682x_interrupt);
	screebo_ppc_interrupt(GPIO_POWER_BUTTON_L);
	zassert_equal(0, nx20p348x_interrupt_fake.call_count);
	zassert_equal(0, syv682x_interrupt_fake.call_count);
}

ZTEST_USER(usb_config, test_board_reset_pd_mcu)
{
	/* Default TBT SKU */
	board_reset_pd_mcu();
	zassert_equal(2, reset_nct38xx_port_fake.call_count);

	/* USB3.2 SKU */
	cros_cbi_get_fw_config_fake.custom_fake =
		mock_cros_cbi_get_fw_config_mb_usb3;
	hook_notify(HOOK_INIT);

	RESET_FAKE(reset_nct38xx_port);
	board_reset_pd_mcu();
	zassert_equal(1, reset_nct38xx_port_fake.call_count);
}

ZTEST_USER(usb_config, test_hbr_rst_runtime_config_cbi_error)
{
	cbi_get_board_version_fake.custom_fake =
		mock_cbi_get_board_version_error;

	hook_notify(HOOK_INIT);
	zassert_equal(bb_controls[USBC_PORT_C0].retimer_rst_gpio,
		      GPIO_SIGNAL(DT_NODELABEL(gpio_usb_c0_hbr_rst_l)));
	zassert_equal(bb_controls[USBC_PORT_C1].retimer_rst_gpio,
		      GPIO_SIGNAL(DT_NODELABEL(gpio_usb_c1_hbr_rst_l)));
}

ZTEST_USER(usb_config, test_hbr_rst_runtime_config_ioex)
{
	cbi_get_board_version_fake.custom_fake = mock_cbi_get_board_version;

	board_version = 0;
	hook_notify(HOOK_INIT);
	zassert_equal(bb_controls[USBC_PORT_C0].retimer_rst_gpio,
		      GPIO_SIGNAL(DT_NODELABEL(ioex_usb_c0_rt_rst_ls_l)));
	zassert_equal(bb_controls[USBC_PORT_C1].retimer_rst_gpio,
		      GPIO_SIGNAL(DT_NODELABEL(ioex_usb_c1_rt_rst_ls_l)));
}

ZTEST_USER(usb_config, test_hbr_rst_runtime_config_gpio)
{
	cbi_get_board_version_fake.custom_fake = mock_cbi_get_board_version;

	board_version = 1;
	hook_notify(HOOK_INIT);
	zassert_equal(bb_controls[USBC_PORT_C0].retimer_rst_gpio,
		      GPIO_SIGNAL(DT_NODELABEL(gpio_usb_c0_hbr_rst_l)));
	zassert_equal(bb_controls[USBC_PORT_C1].retimer_rst_gpio,
		      GPIO_SIGNAL(DT_NODELABEL(gpio_usb_c1_hbr_rst_l)));
}

ZTEST_SUITE(usb_config, NULL, NULL, usb_config_before, usb_config_after, NULL);
```

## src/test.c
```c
/* Copyright 2022 The ChromiumOS Authors
 * Use of this source code is governed by a BSD-style license that can be
 * found in the LICENSE file.
 */

#include <zephyr/ztest.h>

ZTEST_USER(board_power, test_test)
{
	zassert_true(true, NULL, NULL);
}

ZTEST_SUITE(board_power, NULL, NULL, NULL, NULL, NULL);
```

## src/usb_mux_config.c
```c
/* Copyright 2023 The ChromiumOS Authors
 * Use of this source code is governed by a BSD-style license that can be
 * found in the LICENSE file.
 */

#include "cros_cbi.h"
#include "hooks.h"
#include "usb_mux.h"
#include "usb_mux_config.h"
#include "usbc/usb_muxes.h"

#include <zephyr/devicetree.h>
#include <zephyr/fff.h>
#include <zephyr/ztest.h>

FAKE_VALUE_FUNC(int, cros_cbi_get_fw_config, enum cbi_fw_config_field_id,
		uint32_t *);

int mock_cros_cbi_get_fw_config(enum cbi_fw_config_field_id field_id,
				uint32_t *value)
{
	*value = FW_USB_DB_USB3;
	return 0;
}

int mock_cros_cbi_get_fw_config_anx7452(enum cbi_fw_config_field_id field_id,
					uint32_t *value)
{
	*value = FW_USB_DB_USB4_ANX7452;
	return 0;
}

int mock_cros_cbi_get_fw_config_hb(enum cbi_fw_config_field_id field_id,
				   uint32_t *value)
{
	*value = FW_USB_DB_USB4_HB;
	return 0;
}

int mock_cros_cbi_get_fw_config_no_usb_db(enum cbi_fw_config_field_id field_id,
					  uint32_t *value)
{
	*value = FW_USB_DB_NOT_CONNECTED;
	return 0;
}

int mock_cros_cbi_get_fw_config_error(enum cbi_fw_config_field_id field_id,
				      uint32_t *value)
{
	*value = FW_USB_DB_NOT_CONNECTED;
	return -1;
}

static void usb_mux_config_before(void *fixture)
{
	ARG_UNUSED(fixture);

	RESET_FAKE(cros_cbi_get_fw_config);
}

ZTEST_USER(usb_mux_config, test_setup_usb_db)
{
	cros_cbi_get_fw_config_fake.custom_fake = mock_cros_cbi_get_fw_config;

	hook_notify(HOOK_INIT);

	zassert_equal(1, cros_cbi_get_fw_config_fake.call_count);
	zassert_equal(1, usb_db_type);
}

ZTEST_USER(usb_mux_config, test_setup_usb_db_anx7452)
{
	cros_cbi_get_fw_config_fake.custom_fake =
		mock_cros_cbi_get_fw_config_anx7452;

	hook_notify(HOOK_INIT);

	zassert_equal(1, cros_cbi_get_fw_config_fake.call_count);
	zassert_equal(3, usb_db_type);
}

ZTEST_USER(usb_mux_config, test_setup_usb_db_hb)
{
	cros_cbi_get_fw_config_fake.custom_fake =
		mock_cros_cbi_get_fw_config_hb;

	hook_notify(HOOK_INIT);

	zassert_equal(1, cros_cbi_get_fw_config_fake.call_count);
	zassert_equal(4, usb_db_type);
}

ZTEST_USER(usb_mux_config, test_setup_usb_db_no_usb_db)
{
	cros_cbi_get_fw_config_fake.custom_fake =
		mock_cros_cbi_get_fw_config_no_usb_db;

	hook_notify(HOOK_INIT);

	zassert_equal(1, cros_cbi_get_fw_config_fake.call_count);
	zassert_equal(0, usb_db_type);
}

ZTEST_USER(usb_mux_config, test_setup_usb_db_error_reading_cbi)
{
	cros_cbi_get_fw_config_fake.custom_fake =
		mock_cros_cbi_get_fw_config_error;

	hook_notify(HOOK_INIT);

	zassert_equal(1, cros_cbi_get_fw_config_fake.call_count);
	zassert_equal(0, usb_db_type);
}

ZTEST_SUITE(usb_mux_config, NULL, NULL, usb_mux_config_before, NULL, NULL);
```

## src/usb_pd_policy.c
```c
/* Copyright 2022 The ChromiumOS Authors
 * Use of this source code is governed by a BSD-style license that can be
 * found in the LICENSE file.
 */

#include "charge_manager.h"
#include "chipset.h"
#include "ec_commands.h"
#include "usb_charge.h"
#include "usb_pd.h"
#include "usbc_ppc.h"

#include <zephyr/drivers/gpio/gpio_emul.h>
#include <zephyr/fff.h>
#include <zephyr/ztest.h>

FAKE_VALUE_FUNC(int, chipset_in_state, int);
FAKE_VALUE_FUNC(int, ppc_vbus_source_enable, int, int);
FAKE_VOID_FUNC(pd_set_vbus_discharge, int, int);
FAKE_VOID_FUNC(pd_send_host_event, int);
FAKE_VALUE_FUNC(int, ppc_vbus_sink_enable, int, int);
FAKE_VALUE_FUNC(int, ppc_is_sourcing_vbus, int);

int ppc_vbus_source_enable_0_mock(int port, int enable)
{
	zassert_equal(0, pd_set_vbus_discharge_fake.call_count);
	zassert_equal(0, pd_send_host_event_fake.call_count);
	return (port == 0) && (enable == 0);
}

int ppc_vbus_source_enable_1_mock(int port, int enable)
{
	zassert_equal(1, enable, NULL);
	switch (port) {
	case 0:
		return EC_SUCCESS;
	case 3:
		return EC_ERROR_UNIMPLEMENTED;
	case 4:
		return EC_ERROR_INVAL;
	default:
		zassert_unreachable("Unknown port");
	}
	return -1;
}

void pd_set_vbus_discharge_enable_0_mock(int port, int enable)
{
	zassert_equal(0, port, NULL);
	zassert_equal(0, enable, NULL);
}

void pd_set_vbus_discharge_port_3_enable_0_mock(int port, int enable)
{
	zassert_equal(3, port, NULL);
	zassert_equal(0, enable, NULL);
}

void pd_set_vbus_discharge_port_4_enable_0_mock(int port, int enable)
{
	zassert_equal(4, port, NULL);
	zassert_equal(0, enable, NULL);
}

void pd_set_vbus_discharge_enable_1_mock(int port, int enable)
{
	zassert_equal(0, pd_send_host_event_fake.call_count);
	zassert_equal(0, port, NULL);
	zassert_equal(1, enable, NULL);
}

void pd_send_host_event_mock(int mask)
{
	zassert_equal(PD_EVENT_POWER_CHANGE, mask, NULL);
}

int ppc_is_sourcing_vbus_mock(int port)
{
	return port == 0;
}

int ppc_vbus_sink_enable_mock(int port, int enable)
{
	zassert_equal(0, enable, NULL);
	switch (port) {
	case 0:
	case 3:
	case 4:
		return EC_SUCCESS;
	case 1:
		return EC_ERROR_UNIMPLEMENTED;
	case 2:
		return EC_ERROR_INVAL;
	default:
		zassert_unreachable("Unknown port");
	}
	return -1;
}

static void usb_pd_policy_before(void *fixture)
{
	ARG_UNUSED(fixture);
	RESET_FAKE(chipset_in_state);
	RESET_FAKE(ppc_vbus_source_enable);
	RESET_FAKE(pd_set_vbus_discharge);
	RESET_FAKE(pd_send_host_event);
	RESET_FAKE(ppc_is_sourcing_vbus);
	RESET_FAKE(ppc_vbus_sink_enable);
}

ZTEST_USER(usb_pd_policy, test_pd_check_vconn_swap)
{
	const struct gpio_dt_spec *const en_z1_rails =
		GPIO_DT_FROM_NODELABEL(gpio_en_z1_rails);

	/* AP 5V rail is off. */
	zassert_false(gpio_pin_get_dt(en_z1_rails));
	zassert_false(pd_check_vconn_swap(0));
	zassert_false(pd_check_vconn_swap(1));

	/*
	 * Case with the rail on is untestable because emulated GPIOs don't
	 * allow getting the current value of output pins.
	 */
}

ZTEST_USER(usb_pd_policy, test_pd_power_supply_reset)
{
	ppc_vbus_source_enable_fake.custom_fake = ppc_vbus_source_enable_0_mock;
	pd_set_vbus_discharge_fake.custom_fake =
		pd_set_vbus_discharge_enable_1_mock;
	pd_send_host_event_fake.custom_fake = pd_send_host_event_mock;
	pd_power_supply_reset(0);
	zassert_equal(1, ppc_vbus_source_enable_fake.call_count);
	zassert_equal(1, pd_set_vbus_discharge_fake.call_count);
	zassert_equal(1, pd_send_host_event_fake.call_count);
}

ZTEST_USER(usb_pd_policy, test_pd_set_power_supply_ready_case_0)
{
	ppc_vbus_sink_enable_fake.custom_fake = ppc_vbus_sink_enable_mock;
	pd_set_vbus_discharge_fake.custom_fake =
		pd_set_vbus_discharge_enable_0_mock;
	ppc_vbus_source_enable_fake.custom_fake = ppc_vbus_source_enable_1_mock;
	pd_send_host_event_fake.custom_fake = pd_send_host_event_mock;
	zassert_equal(EC_SUCCESS, pd_set_power_supply_ready(0), NULL);
	zassert_equal(1, ppc_vbus_sink_enable_fake.call_count);
	zassert_equal(1, pd_set_vbus_discharge_fake.call_count);
	zassert_equal(1, ppc_vbus_source_enable_fake.call_count);
	zassert_equal(1, pd_send_host_event_fake.call_count);
}

ZTEST_USER(usb_pd_policy, test_pd_set_power_supply_ready_case_1)
{
	ppc_vbus_sink_enable_fake.custom_fake = ppc_vbus_sink_enable_mock;
	pd_set_vbus_discharge_fake.custom_fake =
		pd_set_vbus_discharge_enable_0_mock;
	ppc_vbus_source_enable_fake.custom_fake = ppc_vbus_source_enable_1_mock;
	pd_send_host_event_fake.custom_fake = pd_send_host_event_mock;
	zassert_equal(EC_ERROR_UNIMPLEMENTED, pd_set_power_supply_ready(1),
		      NULL);
	zassert_equal(1, ppc_vbus_sink_enable_fake.call_count);
	zassert_equal(0, pd_set_vbus_discharge_fake.call_count);
	zassert_equal(0, ppc_vbus_source_enable_fake.call_count);
	zassert_equal(0, pd_send_host_event_fake.call_count);
}

ZTEST_USER(usb_pd_policy, test_pd_set_power_supply_ready_case_2)
{
	ppc_vbus_sink_enable_fake.custom_fake = ppc_vbus_sink_enable_mock;
	pd_set_vbus_discharge_fake.custom_fake =
		pd_set_vbus_discharge_enable_0_mock;
	ppc_vbus_source_enable_fake.custom_fake = ppc_vbus_source_enable_1_mock;
	pd_send_host_event_fake.custom_fake = pd_send_host_event_mock;
	zassert_equal(EC_ERROR_INVAL, pd_set_power_supply_ready(2), NULL);
	zassert_equal(1, ppc_vbus_sink_enable_fake.call_count);
	zassert_equal(0, pd_set_vbus_discharge_fake.call_count);
	zassert_equal(0, ppc_vbus_source_enable_fake.call_count);
	zassert_equal(0, pd_send_host_event_fake.call_count);
}

ZTEST_USER(usb_pd_policy, test_pd_set_power_supply_ready_case_3)
{
	ppc_vbus_sink_enable_fake.custom_fake = ppc_vbus_sink_enable_mock;
	pd_set_vbus_discharge_fake.custom_fake =
		pd_set_vbus_discharge_port_3_enable_0_mock;
	ppc_vbus_source_enable_fake.custom_fake = ppc_vbus_source_enable_1_mock;
	pd_send_host_event_fake.custom_fake = pd_send_host_event_mock;
	zassert_equal(EC_ERROR_UNIMPLEMENTED, pd_set_power_supply_ready(3),
		      NULL);
	zassert_equal(1, ppc_vbus_sink_enable_fake.call_count);
	zassert_equal(1, pd_set_vbus_discharge_fake.call_count);
	zassert_equal(1, ppc_vbus_source_enable_fake.call_count);
	zassert_equal(0, pd_send_host_event_fake.call_count);
}

ZTEST_USER(usb_pd_policy, test_pd_set_power_supply_ready_case_4)
{
	ppc_vbus_sink_enable_fake.custom_fake = ppc_vbus_sink_enable_mock;
	pd_set_vbus_discharge_fake.custom_fake =
		pd_set_vbus_discharge_port_4_enable_0_mock;
	ppc_vbus_source_enable_fake.custom_fake = ppc_vbus_source_enable_1_mock;
	pd_send_host_event_fake.custom_fake = pd_send_host_event_mock;
	zassert_equal(EC_ERROR_INVAL, pd_set_power_supply_ready(4), NULL);
	zassert_equal(1, ppc_vbus_sink_enable_fake.call_count);
	zassert_equal(1, pd_set_vbus_discharge_fake.call_count);
	zassert_equal(1, ppc_vbus_source_enable_fake.call_count);
	zassert_equal(0, pd_send_host_event_fake.call_count);
}

ZTEST_USER(usb_pd_policy, test_board_vbus_source_enabled)
{
	ppc_is_sourcing_vbus_fake.custom_fake = ppc_is_sourcing_vbus_mock;
	zassert_true(board_vbus_source_enabled(0), NULL, NULL);
	zassert_equal(1, ppc_is_sourcing_vbus_fake.call_count);
}

ZTEST_USER(usb_pd_policy, test_board_is_sourcing_vbus)
{
	ppc_is_sourcing_vbus_fake.custom_fake = ppc_is_sourcing_vbus_mock;
	zassert_true(board_is_sourcing_vbus(0), NULL, NULL);
	zassert_equal(1, ppc_is_sourcing_vbus_fake.call_count);
}

ZTEST_SUITE(usb_pd_policy, NULL, NULL, usb_pd_policy_before, NULL, NULL);
```
